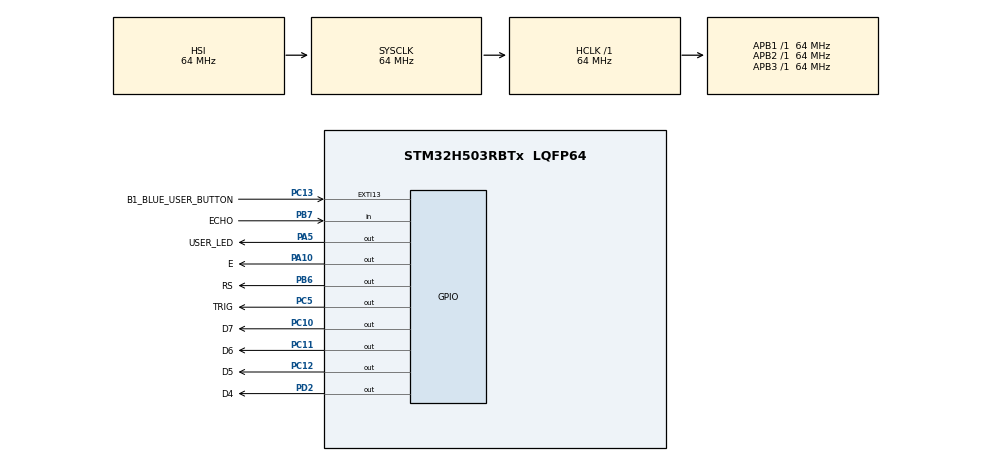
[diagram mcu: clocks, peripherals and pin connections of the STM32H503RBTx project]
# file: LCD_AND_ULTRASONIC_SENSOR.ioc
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BOOTPATH.BootPathName=LEGACY
BOOTPATH.UserSelectedBootPath=LEGACY
Mcu.Family=STM32H5
Mcu.Name=STM32H503RBTx
Mcu.Package=LQFP64
NVIC.PriorityGroup=NVIC_PRIORITYGROUP_4
PA10.GPIO_Label=E
PA10.Signal=GPIO_Output
PA3.GPIO_Label=T_VCP_RX
PA3.Signal=USART3_RX
PA4.GPIO_Label=T_VCP_TX
PA4.Signal=USART3_TX
PA5.GPIO_Label=USER_LED
PA5.Signal=GPIO_Output
PB6.GPIO_Label=RS
PB6.Signal=GPIO_Output
PB7.GPIO_Label=ECHO
PB7.Signal=GPIO_Input
PC10.GPIO_Label=D7
PC10.Signal=GPIO_Output
PC11.GPIO_Label=D6
PC11.Signal=GPIO_Output
PC12.GPIO_Label=D5
PC12.Signal=GPIO_Output
PC13.GPIO_Label=B1_BLUE_USER_BUTTON
PC13.Signal=GPXTI13
PC5.GPIO_Label=TRIG
PC5.Signal=GPIO_Output
PD2.GPIO_Label=D4
PD2.Signal=GPIO_Output
ProjectManager.HeapSize=0x200
ProjectManager.StackSize=0x400
ProjectManager.TargetToolchain=STM32CubeIDE
RCC.ADCFreq_Value=64000000
RCC.AHBFreq_Value=64000000
RCC.APB1Freq_Value=64000000
RCC.APB1TimFreq_Value=64000000
RCC.APB2Freq_Value=64000000
RCC.APB2TimFreq_Value=64000000
RCC.APB3Freq_Value=64000000
RCC.CSI_VALUE=4000000
RCC.CortexFreq_Value=64000000
RCC.EPOD_VALUE=4000000
RCC.HCLKFreq_Value=64000000
RCC.HSE_VALUE=24000000
RCC.HSI48_VALUE=48000000
RCC.HSIDiv=RCC_HSI_DIV1
RCC.HSI_VALUE=64000000
RCC.LSE_VALUE=32768
RCC.LSIRC_VALUE=32000
RCC.PLLN=32
RCC.SYSCLKFreq_VALUE=64000000
RCC.USBFreq_Value=48000000
RCC.VCOOutputFreq_Value=128000000
TIM2.Prescaler=63
VP_BOOTPATH_VS_BOOTPATH.Mode=BP_Activate
VP_CORTEX_M33_NS_VS_Hclk.Mode=Hclk_Mode
VP_MEMORYMAP_VS_MEMORYMAP.Mode=CurAppReg
VP_PWR_VS_DBSignals.Mode=DisableDeadBatterySignals
VP_PWR_VS_LPOM.Mode=PowerOptimisation
VP_PWR_VS_SECSignals.Mode=Security/Privilege
VP_TIM2_VS_ClockSourceINT.Mode=Internal
board=NUCLEO-H503RB

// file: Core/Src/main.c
/* USER CODE BEGIN Header */
/**
  ******************************************************************************
  * @file           : main.c
  * @brief          : Main program body
  ******************************************************************************
  * @attention
  *
  * Copyright (c) 2026 STMicroelectronics.
  * All rights reserved.
  *
  * This software is licensed under terms that can be found in the LICENSE file
  * in the root directory of this software component.
  * If no LICENSE file comes with this software, it is provided AS-IS.
  *
  ******************************************************************************
  */
/* USER CODE END Header */
#include "main.h"

/* USER CODE BEGIN Includes */
#include <stdio.h>
/* USER CODE END Includes */

TIM_HandleTypeDef htim2;

void SystemClock_Config(void);
static void MX_GPIO_Init(void);
static void MX_TIM2_Init(void);

/* USER CODE BEGIN 0 */

// --- Pulse the Enable pin to latch data ---
static void LCD_Pulse_Enable(void)
{
    HAL_GPIO_WritePin(GPIOA, E_Pin, GPIO_PIN_SET);
    HAL_Delay(1);
    HAL_GPIO_WritePin(GPIOA, E_Pin, GPIO_PIN_RESET);
    HAL_Delay(1);
}

// --- Send the upper nibble (bits 7-4) via D4-D7 ---
static void LCD_Send_Nibble(uint8_t nibble)
{
    HAL_GPIO_WritePin(D4_GPIO_Port,  D4_Pin, (nibble >> 0) & 1);
    HAL_GPIO_WritePin(GPIOC,         D5_Pin, (nibble >> 1) & 1);
    HAL_GPIO_WritePin(GPIOC,         D6_Pin, (nibble >> 2) & 1);
    HAL_GPIO_WritePin(GPIOC,         D7_Pin, (nibble >> 3) & 1);
    LCD_Pulse_Enable();
}

// --- Send a full byte as two nibbles ---
static void LCD_Send_Byte(uint8_t byte, uint8_t rs)
{
    HAL_GPIO_WritePin(RS_GPIO_Port, RS_Pin, rs);   // RS=0: command, RS=1: data
    LCD_Send_Nibble(byte >> 4);             // High nibble first
    LCD_Send_Nibble(byte & 0x0F);           // Low nibble second
    HAL_Delay(2);
}

// --- Initialize the LCD in 4-bit mode ---
static void LCD_Init(void)
{
    HAL_Delay(50);                          // Wait for LCD power-up

    // Special 3-step init to reliably enter 4-bit mode
    HAL_GPIO_WritePin(RS_GPIO_Port, RS_Pin, GPIO_PIN_RESET);
    LCD_Send_Nibble(0x03); HAL_Delay(5);
    LCD_Send_Nibble(0x03); HAL_Delay(1);
    LCD_Send_Nibble(0x03); HAL_Delay(1);
    LCD_Send_Nibble(0x02); HAL_Delay(1);    // Switch to 4-bit mode

    LCD_Send_Byte(0x28, 0);                 // 4-bit, 2 lines, 5x8 font
    LCD_Send_Byte(0x0C, 0);                 // Display ON, cursor OFF, blink OFF
    LCD_Send_Byte(0x06, 0);                 // Entry mode: increment, no shift
    LCD_Send_Byte(0x01, 0);                 // Clear display
    HAL_Delay(2);                           // Clear needs extra time
}

// --- Print a string at the current cursor position ---
static void LCD_Print(const char *str)
{
    while (*str)
        LCD_Send_Byte((uint8_t)*str++, 1);
}

// --- Move cursor: row 0 or 1, col 0-15 ---
static void LCD_Set_Cursor(uint8_t row, uint8_t col)
{
    uint8_t addr = (row == 0) ? (0x80 + col) : (0xC0 + col);
    LCD_Send_Byte(addr, 0);
}

void delay_us(uint32_t us)
{
    __HAL_TIM_SET_COUNTER(&htim2, 0);
    while (__HAL_TIM_GET_COUNTER(&htim2) < us);
}

uint32_t Ultrasonic_Read(void)
{
    HAL_GPIO_WritePin(TRIG_GPIO_Port, TRIG_Pin, GPIO_PIN_SET);
    delay_us(10);
    HAL_GPIO_WritePin(TRIG_GPIO_Port, TRIG_Pin, GPIO_PIN_RESET);

    uint32_t timeout = 0;
    while (HAL_GPIO_ReadPin(ECHO_GPIO_Port, ECHO_Pin) == GPIO_PIN_RESET)
    {
        timeout++;
        if (timeout > 100000) return 0;
    }

    __HAL_TIM_SET_COUNTER(&htim2, 0);
    while (HAL_GPIO_ReadPin(ECHO_GPIO_Port, ECHO_Pin) == GPIO_PIN_SET);
    return __HAL_TIM_GET_COUNTER(&htim2);
}
/* USER CODE END 0 */

int main(void)
{

  /* MCU Configuration--------------------------------------------------------*/

  /* Reset of all peripherals, Initializes the Flash interface and the Systick. */
  HAL_Init();

  /* Configure the system clock */
  SystemClock_Config();

  /* Initialize all configured peripherals */
  MX_GPIO_Init();
  MX_TIM2_Init();
  /* USER CODE BEGIN 2 */

	HAL_TIM_Base_Start(&htim2);
	LCD_Init();
    LCD_Set_Cursor(0, 0);
    LCD_Print("Hello World");

    char buf[4];
    for (int i = 5; i >= 1; i--)
    {
        LCD_Set_Cursor(1, 0);       // Row 2, column 0
        sprintf(buf, "%d", i);
        LCD_Print(buf);
        HAL_Delay(1000);
    }

    LCD_Send_Byte(0x01, 0);         // Clear display
    HAL_Delay(2);
  /* USER CODE END 2 */

  /* Infinite loop */
  while (1)
  {

    /* USER CODE BEGIN 3 */
	    char row1[32];
	    char row2[32];

	    uint32_t echo_us = Ultrasonic_Read();
	    uint32_t dist_whole = echo_us / 58;
	    uint32_t dist_frac  = (echo_us % 58) * 10 / 58;

	    sprintf(row1, "Dist: %lu.%lu cm        ", dist_whole, dist_frac);
	    sprintf(row2, "Time: %lu us        ", echo_us);

	    row1[16] = '\0';
	    row2[16] = '\0';

	    LCD_Set_Cursor(0, 0);
	    LCD_Print(row1);
	    LCD_Set_Cursor(1, 0);
	    LCD_Print(row2);

	    HAL_Delay(200);
  }
  /* USER CODE END 3 */
}

void SystemClock_Config(void)
{
  RCC_OscInitTypeDef RCC_OscInitStruct = {0};
  RCC_ClkInitTypeDef RCC_ClkInitStruct = {0};

  /** Configure the main internal regulator output voltage
  */
  __HAL_PWR_VOLTAGESCALING_CONFIG(PWR_REGULATOR_VOLTAGE_SCALE3);

  while(!__HAL_PWR_GET_FLAG(PWR_FLAG_VOSRDY)) {}

  /** Initializes the RCC Oscillators according to the specified parameters
  * in the RCC_OscInitTypeDef structure.
  */
  RCC_OscInitStruct.OscillatorType = RCC_OSCILLATORTYPE_HSI;
  RCC_OscInitStruct.HSIState = RCC_HSI_ON;
  RCC_OscInitStruct.HSIDiv = RCC_HSI_DIV1;
  RCC_OscInitStruct.HSICalibrationValue = RCC_HSICALIBRATION_DEFAULT;
  RCC_OscInitStruct.PLL.PLLState = RCC_PLL_NONE;
  if (HAL_RCC_OscConfig(&RCC_OscInitStruct) != HAL_OK)
  {
    Error_Handler();
  }

  /** Initializes the CPU, AHB and APB buses clocks
  */
  RCC_ClkInitStruct.ClockType = RCC_CLOCKTYPE_HCLK|RCC_CLOCKTYPE_SYSCLK
                              |RCC_CLOCKTYPE_PCLK1|RCC_CLOCKTYPE_PCLK2
                              |RCC_CLOCKTYPE_PCLK3;
  RCC_ClkInitStruct.SYSCLKSource = RCC_SYSCLKSOURCE_HSI;
  RCC_ClkInitStruct.AHBCLKDivider = RCC_SYSCLK_DIV1;
  RCC_ClkInitStruct.APB1CLKDivider = RCC_HCLK_DIV1;
  RCC_ClkInitStruct.APB2CLKDivider = RCC_HCLK_DIV1;
  RCC_ClkInitStruct.APB3CLKDivider = RCC_HCLK_DIV1;

  if (HAL_RCC_ClockConfig(&RCC_ClkInitStruct, FLASH_LATENCY_3) != HAL_OK)
  {
    Error_Handler();
  }

  /** Configure the programming delay
  */
  __HAL_FLASH_SET_PROGRAM_DELAY(FLASH_PROGRAMMING_DELAY_1);
}

static void MX_TIM2_Init(void)
{

  TIM_ClockConfigTypeDef sClockSourceConfig = {0};
  TIM_MasterConfigTypeDef sMasterConfig = {0};

  htim2.Instance = TIM2;
  htim2.Init.Prescaler = 63;
  htim2.Init.CounterMode = TIM_COUNTERMODE_UP;
  htim2.Init.Period = 4294967295;
  htim2.Init.ClockDivision = TIM_CLOCKDIVISION_DIV1;
  htim2.Init.AutoReloadPreload = TIM_AUTORELOAD_PRELOAD_DISABLE;
  if (HAL_TIM_Base_Init(&htim2) != HAL_OK)
  {
    Error_Handler();
  }
  sClockSourceConfig.ClockSource = TIM_CLOCKSOURCE_INTERNAL;
  if (HAL_TIM_ConfigClockSource(&htim2, &sClockSourceConfig) != HAL_OK)
  {
    Error_Handler();
  }
  sMasterConfig.MasterOutputTrigger = TIM_TRGO_RESET;
  sMasterConfig.MasterSlaveMode = TIM_MASTERSLAVEMODE_DISABLE;
  if (HAL_TIMEx_MasterConfigSynchronization(&htim2, &sMasterConfig) != HAL_OK)
  {
    Error_Handler();
  }

}

static void MX_GPIO_Init(void)
{
  GPIO_InitTypeDef GPIO_InitStruct = {0};

  /* GPIO Ports Clock Enable */
  __HAL_RCC_GPIOC_CLK_ENABLE();
  __HAL_RCC_GPIOA_CLK_ENABLE();
  __HAL_RCC_GPIOD_CLK_ENABLE();
  __HAL_RCC_GPIOB_CLK_ENABLE();

  /*Configure GPIO pin Output Level */
  HAL_GPIO_WritePin(GPIOA, USER_LED_Pin|E_Pin, GPIO_PIN_RESET);

  /*Configure GPIO pin Output Level */
  HAL_GPIO_WritePin(GPIOC, TRIG_Pin|D7_Pin|D6_Pin|D5_Pin, GPIO_PIN_RESET);

  /*Configure GPIO pin Output Level */
  HAL_GPIO_WritePin(D4_GPIO_Port, D4_Pin, GPIO_PIN_RESET);

  /*Configure GPIO pin Output Level */
  HAL_GPIO_WritePin(RS_GPIO_Port, RS_Pin, GPIO_PIN_RESET);

  /*Configure GPIO pin : B1_BLUE_USER_BUTTON_Pin */
  GPIO_InitStruct.Pin = B1_BLUE_USER_BUTTON_Pin;
  GPIO_InitStruct.Mode = GPIO_MODE_IT_RISING;
  GPIO_InitStruct.Pull = GPIO_NOPULL;
  HAL_GPIO_Init(B1_BLUE_USER_BUTTON_GPIO_Port, &GPIO_InitStruct);

  /*Configure GPIO pins : T_VCP_RX_Pin T_VCP_TX_Pin */
  GPIO_InitStruct.Pin = T_VCP_RX_Pin|T_VCP_TX_Pin;
  GPIO_InitStruct.Mode = GPIO_MODE_AF_PP;
  GPIO_InitStruct.Pull = GPIO_NOPULL;
  GPIO_InitStruct.Speed = GPIO_SPEED_FREQ_LOW;
  GPIO_InitStruct.Alternate = GPIO_AF13_USART3;
  HAL_GPIO_Init(GPIOA, &GPIO_InitStruct);

  /*Configure GPIO pins : USER_LED_Pin E_Pin */
  GPIO_InitStruct.Pin = USER_LED_Pin|E_Pin;
  GPIO_InitStruct.Mode = GPIO_MODE_OUTPUT_PP;
  GPIO_InitStruct.Pull = GPIO_NOPULL;
  GPIO_InitStruct.Speed = GPIO_SPEED_FREQ_LOW;
  HAL_GPIO_Init(GPIOA, &GPIO_InitStruct);

  /*Configure GPIO pins : TRIG_Pin D7_Pin D6_Pin D5_Pin */
  GPIO_InitStruct.Pin = TRIG_Pin|D7_Pin|D6_Pin|D5_Pin;
  GPIO_InitStruct.Mode = GPIO_MODE_OUTPUT_PP;
  GPIO_InitStruct.Pull = GPIO_NOPULL;
  GPIO_InitStruct.Speed = GPIO_SPEED_FREQ_LOW;
  HAL_GPIO_Init(GPIOC, &GPIO_InitStruct);

  /*Configure GPIO pin : D4_Pin */
  GPIO_InitStruct.Pin = D4_Pin;
  GPIO_InitStruct.Mode = GPIO_MODE_OUTPUT_PP;
  GPIO_InitStruct.Pull = GPIO_NOPULL;
  GPIO_InitStruct.Speed = GPIO_SPEED_FREQ_LOW;
  HAL_GPIO_Init(D4_GPIO_Port, &GPIO_InitStruct);

  /*Configure GPIO pin : RS_Pin */
  GPIO_InitStruct.Pin = RS_Pin;
  GPIO_InitStruct.Mode = GPIO_MODE_OUTPUT_PP;
  GPIO_InitStruct.Pull = GPIO_NOPULL;
  GPIO_InitStruct.Speed = GPIO_SPEED_FREQ_LOW;
  HAL_GPIO_Init(RS_GPIO_Port, &GPIO_InitStruct);

  /*Configure GPIO pin : ECHO_Pin */
  GPIO_InitStruct.Pin = ECHO_Pin;
  GPIO_InitStruct.Mode = GPIO_MODE_INPUT;
  GPIO_InitStruct.Pull = GPIO_NOPULL;
  HAL_GPIO_Init(ECHO_GPIO_Port, &GPIO_InitStruct);

}

void Error_Handler(void)
{
  __disable_irq();
  while (1)
  {
  }
}
